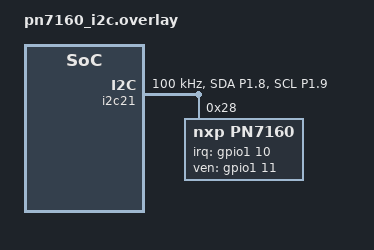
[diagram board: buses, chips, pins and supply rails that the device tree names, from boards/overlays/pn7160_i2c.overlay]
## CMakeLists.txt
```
#
# Copyright (c) 2018 Nordic Semiconductor
#
# SPDX-License-Identifier: LicenseRef-Nordic-5-Clause
#

cmake_minimum_required(VERSION 3.20.0)

find_package(Zephyr REQUIRED HINTS $ENV{ZEPHYR_BASE})
project(writable_ndef_msg)

FILE(GLOB app_sources src/*.c)
list(REMOVE_ITEM app_sources ${CMAKE_CURRENT_SOURCE_DIR}/src/nfc_emulation.c)
# NORDIC SDK APP START
target_sources(app  PRIVATE ${app_sources})
# NORDIC SDK APP END

if(NOT CONFIG_NFC_STACK AND CONFIG_NFC_T4T_NRFXLIB)
  target_sources(app PRIVATE ${CMAKE_CURRENT_SOURCE_DIR}/src/nfc_emulation.c)
endif()

if(CONFIG_NFC_STACK)
  add_subdirectory(src/nfc)
endif()
```

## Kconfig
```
#
# Copyright (c) 2025 Nordic Semiconductor
#
# SPDX-License-Identifier: LicenseRef-Nordic-5-Clause
#

source "Kconfig.zephyr"

rsource "src/nfc/Kconfig"

config ZMS
	select CRC
	default y if (SOC_FLASH_NRF_RRAM || SOC_FLASH_NRF_MRAM)

config NVS
	default y if !(SOC_FLASH_NRF_RRAM || SOC_FLASH_NRF_MRAM)
```

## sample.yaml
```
sample:
  description: NFC Type 4 tag emulation with custom UID
  name: NFC Type 4 tag emulation
tests:
  sample.nfc.writable_ndef_msg:
    sysbuild: true
    build_only: true
    integration_platforms:
      - nrf52840dk/nrf52840
      - nrf52dk/nrf52832
      - nrf5340dk/nrf5340/cpuapp
      - nrf5340dk/nrf5340/cpuapp/ns
      - nrf54h20dk/nrf54h20/cpuapp
      - nrf54l15dk/nrf54l05/cpuapp
      - nrf54l15dk/nrf54l10/cpuapp
      - nrf54l15dk/nrf54l15/cpuapp
      - nrf54lm20dk/nrf54lm20a/cpuapp
      - nrf7120pdk/nrf7120/cpuapp
    platform_allow:
      - nrf52840dk/nrf52840
      - nrf52dk/nrf52832
      - nrf5340dk/nrf5340/cpuapp
      - nrf5340dk/nrf5340/cpuapp/ns
      - nrf54h20dk/nrf54h20/cpuapp
      - nrf54l15dk/nrf54l05/cpuapp
      - nrf54l15dk/nrf54l10/cpuapp
      - nrf54l15dk/nrf54l15/cpuapp
      - nrf54lm20dk/nrf54lm20a/cpuapp
      - nrf7120pdk/nrf7120/cpuapp
    tags:
      - ci_build
      - sysbuild
      - ci_samples_nfc
  sample.nfc.writable_ndef_msg.llvm:
    toolchain_allow: llvm
    sysbuild: true
    build_only: true
    integration_platforms:
      - nrf54l15dk/nrf54l15/cpuapp
    platform_allow:
      - nrf54l15dk/nrf54l15/cpuapp
    tags:
      - ci_build
      - sysbuild
      - ci_samples_nfc
  sample.nfc.writable_ndef_msg.pn7160.i2c:
    sysbuild: true
    build_only: true
    extra_args:
      - writable_ndef_msg_DTC_OVERLAY_FILE=boards/overlays/pn7160_i2c.overlay
      - writable_ndef_msg_EXTRA_CONF_FILE=overlay-pn7160.conf
    integration_platforms:
      - nrf54l15dk/nrf54l15/cpuapp
    platform_allow:
      - nrf54l15dk/nrf54l15/cpuapp
    tags:
      - ci_build
      - ci_samples_nfc
      - pn7160
      - sysbuild
  sample.nfc.writable_ndef_msg.pn7160.spi:
    sysbuild: true
    build_only: true
    extra_args:
      - writable_ndef_msg_DTC_OVERLAY_FILE=boards/overlays/pn7160_spi.overlay
      - writable_ndef_msg_EXTRA_CONF_FILE=overlay-pn7160-spi.conf
    integration_platforms:
      - nrf54l15dk/nrf54l15/cpuapp
    platform_allow:
      - nrf54l15dk/nrf54l15/cpuapp
    tags:
      - ci_build
      - ci_samples_nfc
      - pn7160
      - sysbuild
```

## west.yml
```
# West manifest for writable_ndef_msg (NCS workspace root, T2 topology).
# CI and local Multipass use the same NCS pin as .github/workflows/twister.yaml.
# The PN7160 driver is the external nfc-pn7160 module, pinned below; CI clones it
# from GitHub. Locally it is resolved by the NCS workspace manifest. See docs/CI_TESTING.md.

manifest:
  version: "0.13"

  self:
    path: .

  remotes:
    - name: ncs
      url-base: https://github.com/nrfconnect

  defaults:
    remote: ncs

  projects:
    - name: nrf
      repo-path: sdk-nrf
      revision: v3.2.4
      import: true

    - name: nfc-pn7160
      url: https://github.com/majidsurefow/nfc-pn7160
      revision: faef0be3070fce5db8f7289466243b65961e0b79
      path: modules/nfc-pn7160
```

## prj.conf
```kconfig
#
# Copyright (c) 2019 Nordic Semiconductor ASA
#
# SPDX-License-Identifier: LicenseRef-Nordic-5-Clause
#
CONFIG_NCS_SAMPLES_DEFAULTS=y

CONFIG_NFC_T4T_NRFXLIB=y

CONFIG_DK_LIBRARY=y
```

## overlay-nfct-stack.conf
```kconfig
# NFCT T4T listen backend (Gate 5 — emulate path, no PN7160 reader).
#
# Build (nRF54L15 target):
#   west build -b nrf54l15dk/nrf54l15/cpuapp "$REPO" --sysbuild \
#     -- -DEXTRA_CONF_FILE="$REPO/overlay-nfct-stack.conf"
#
# HIL sign-off checklist (PN7160 reader + NFCT emulate):
#   1. nfc read <slot> on PN7160 — save .card for ndef / emv / desfire / aliro
#   2. nfc emulate <slot> on NFCT (this overlay) — field on, no crash
#   3. External reader or PN7160 poll: SELECT app AID → valid SW / payload
#   4. nfc verify <slot> on PN7160 — PASS vs stored blob
#   5. Stats: apdu_assembled_count > 0; apdu_dropped_no_consumer == 0
#
# QEMU cannot exercise nrfx NFCT ISR path — use unit virtual loopback for listeners.
#
# NFC logic reduced to one profile line: NFC_PROFILE_CARD_EMULATION implies the
# listen stack (framing + router + NDEF), RAM store, and the emulatable listener
# protocols (NDEF, Ultralight, DESFire, EMV, Aliro).
CONFIG_NFC_T4T_NRFXLIB=y
CONFIG_ENTROPY_GENERATOR=y
CONFIG_NFC_STACK=y
CONFIG_NFC_HAL_BACKEND_NRFX=y
CONFIG_NFC_PROFILE_CARD_EMULATION=y
# NFCT is listen-only — reader role must stay off (backend BUILD_ASSERT).
# CONFIG_NFC_ROLE_READER is not set
# CONFIG_PN7160 is not set
CONFIG_SHELL=y
```

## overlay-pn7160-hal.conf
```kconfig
# PN7160 + NFC HAL scaffold only (no reader engine)
#
# Requires a PN7160 devicetree node — pair with a board overlay, e.g.:
#   west build -b nrf54l15dk/nrf54l15/cpuapp . \
#     -DEXTRA_CONF_FILE=overlay-pn7160-hal.conf
# (sysbuild.cmake defaults writable_ndef_msg_DTC_OVERLAY_FILE to pn7160_i2c.overlay)
#
# NFC_PROFILE_LAB pulls in HAL + role compile paths but no reader/store/applets.
CONFIG_I2C=y
CONFIG_GPIO=y
CONFIG_EMUL=y
CONFIG_PN7160=y
CONFIG_PN7160_LOG_LEVEL_DBG=y
CONFIG_SHELL=y
CONFIG_SHELL_BACKEND_SERIAL=y
CONFIG_UART_CONSOLE=y
CONFIG_PN7160_SHELL=y
CONFIG_NFC_STACK=y
CONFIG_NFC_HAL_BACKEND_PN7160=y
CONFIG_NFC_ROLE_READER=y
CONFIG_NFC_PROFILE_LAB=y
CONFIG_NFC_T4T_NRFXLIB=n
CONFIG_DK_LIBRARY=n
# Reader engine added via overlay-pn7160-stack.conf (NFC_PROFILE_READER).
# CONFIG_NFC_READER is not set
```

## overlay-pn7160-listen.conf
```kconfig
# Layered on overlay-pn7160-stack.conf (NFC_PROFILE_READER) to add the listen
# path on the same PN7160 chip — reader + card emulation in one build.
# Gate 4 product applets — top-level `nfc scan|read|emulate|verify|loop`.
# DK primitives remain: `nfc reader *`, `nfc stack *`, `nfc store *`.
# Alias (LOCKED): `nfc reader clone <slot>` == `nfc read <slot>`.
#
# DEFERRED: RW+CE on the same PN7160 chip (concurrent reader + card emulation)
# requires NXP combined-discovery sequencing — not implemented; use separate
# scan/read and emulate sessions with stack stop between them.
#
# QEMU compile check (PN7160 emul DTS required):
#   west build -b qemu_cortex_m3/ti_lm3s6965 "$REPO" --no-sysbuild \
#     -- -DEXTRA_CONF_FILE="overlay-pn7160-stack.conf;overlay-pn7160-listen.conf" \
#        -DDTC_OVERLAY_FILE="boards/overlays/pn7160_unit_test.overlay"
#
# Flip reader-only listen role back on and add the listen orchestrator. The CE
# protocol subset comes from NFC_PROFILE_READER's poller implies already.
CONFIG_NFC_ROLE_LISTEN=y
CONFIG_NFC_LISTEN_STACK=y
```

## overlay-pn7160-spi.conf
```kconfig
# PN7160 module — SPI transport (pairs with boards/overlays/pn7160_spi.overlay)
CONFIG_SPI=y
CONFIG_GPIO=y
CONFIG_PN7160=y
CONFIG_PN7160_LOG_LEVEL_DBG=y
CONFIG_SHELL=y
CONFIG_SHELL_BACKEND_SERIAL=y
CONFIG_UART_CONSOLE=y
CONFIG_PN7160_SHELL=y
```

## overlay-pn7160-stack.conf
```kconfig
# PN7160 + NFC stack — reader product (Gate 0 reader scaffold)
#
# Requires a PN7160 devicetree node — pair with a board overlay, e.g.:
#   west build -b nrf54l15dk/nrf54l15/cpuapp . \
#     -DEXTRA_CONF_FILE=overlay-pn7160-stack.conf
# (sysbuild.cmake defaults writable_ndef_msg_DTC_OVERLAY_FILE to pn7160_i2c.overlay)
# Or explicitly:
#   -Dwritable_ndef_msg_DTC_OVERLAY_FILE=boards/overlays/pn7160_i2c.overlay
#
# Driver UART/shell defaults from overlay-pn7160.conf are merged below.
# NFC logic reduced to one profile line: NFC_PROFILE_READER implies the reader
# engine, RAM store, applets, and all poller protocols (imply, overridable).
CONFIG_I2C=y
CONFIG_ENTROPY_GENERATOR=y
CONFIG_GPIO=y
CONFIG_EMUL=y
CONFIG_PN7160=y
CONFIG_PN7160_LOG_LEVEL_DBG=y
CONFIG_SHELL=y
CONFIG_SHELL_BACKEND_SERIAL=y
CONFIG_UART_CONSOLE=y
CONFIG_PN7160_SHELL=y
CONFIG_NFC_STACK=y
CONFIG_NFC_HAL_BACKEND_PN7160=y
# CONFIG_NFC_HAL_BACKEND_NRFX is not set
CONFIG_NFC_PROFILE_READER=y
# Gate 2 reader-only on PN7160 — keep listen role off (no NET_BUF/APDU pool).
# Add listen + stack orchestrator via overlay-pn7160-listen.conf.
CONFIG_NFC_ROLE_LISTEN=n
CONFIG_NFC_T4T_NRFXLIB=n
CONFIG_DK_LIBRARY=n
# CRC is selected by NFC_STORE (store envelope checksum) — no overlay line needed.
```

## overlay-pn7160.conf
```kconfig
# PN7160 module — Phase 0 scaffold
CONFIG_I2C=y
CONFIG_GPIO=y
CONFIG_PN7160=y
CONFIG_PN7160_LOG_LEVEL_DBG=y
CONFIG_SHELL=y
CONFIG_SHELL_BACKEND_SERIAL=y
CONFIG_UART_CONSOLE=y
CONFIG_PN7160_SHELL=y
```

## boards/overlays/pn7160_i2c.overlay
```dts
/*
 * PN7160 eval shield on nRF54L15 DK — adjust bus/pins for your wiring.
 *
 * Default: I2C on i2c21 @ 0x28, IRQ P1.10, VEN P1.11.
 * I2C: SDA P1.8, SCL P1.9 (avoids IRQ/VEN on P1.10/P1.11).
 */

&pinctrl {
	i2c21_default: i2c21_default {
		group1 {
			psels = <NRF_PSEL(TWIM_SDA, 1, 8)>,
				<NRF_PSEL(TWIM_SCL, 1, 9)>;
			bias-pull-up;
		};
	};

	i2c21_sleep: i2c21_sleep {
		group1 {
			psels = <NRF_PSEL(TWIM_SDA, 1, 8)>,
				<NRF_PSEL(TWIM_SCL, 1, 9)>;
			low-power-enable;
		};
	};
};

&i2c21 {
	status = "okay";
	pinctrl-0 = <&i2c21_default>;
	pinctrl-1 = <&i2c21_sleep>;
	pinctrl-names = "default", "sleep";
	clock-frequency = <I2C_BITRATE_STANDARD>;

	pn7160: pn7160@28 {
		compatible = "nxp,pn7160";
		reg = <0x28>;
		irq-gpios = <&gpio1 10 GPIO_ACTIVE_HIGH>;
		ven-gpios = <&gpio1 11 GPIO_ACTIVE_HIGH>;
	};
};
```

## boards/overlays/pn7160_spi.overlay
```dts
/*
 * PN7160 on SPI — adjust bus, CS, and GPIO pins for your wiring.
 *
 * Default: SPI on spi21 @ CS0, IRQ P1.10, VEN P1.11 (same GPIOs as I2C overlay).
 * SPI: SCK P1.12, MOSI P1.8, MISO P1.9, CS P1.14 (avoids IRQ/VEN).
 * NXP reference SPI clock: 500 kHz (set via spi-max-frequency).
 */

&pinctrl {
	spi21_default: spi21_default {
		group1 {
			psels = <NRF_PSEL(SPIM_SCK, 1, 12)>,
				<NRF_PSEL(SPIM_MOSI, 1, 8)>,
				<NRF_PSEL(SPIM_MISO, 1, 9)>;
		};
	};

	spi21_sleep: spi21_sleep {
		group1 {
			psels = <NRF_PSEL(SPIM_SCK, 1, 12)>,
				<NRF_PSEL(SPIM_MOSI, 1, 8)>,
				<NRF_PSEL(SPIM_MISO, 1, 9)>;
			low-power-enable;
		};
	};
};

&spi21 {
	status = "okay";
	pinctrl-0 = <&spi21_default>;
	pinctrl-1 = <&spi21_sleep>;
	pinctrl-names = "default", "sleep";
	cs-gpios = <&gpio1 14 GPIO_ACTIVE_LOW>;

	pn7160: pn7160@0 {
		compatible = "nxp,pn7160";
		reg = <0>;
		spi-max-frequency = <500000>;
		irq-gpios = <&gpio1 10 GPIO_ACTIVE_HIGH>;
		ven-gpios = <&gpio1 11 GPIO_ACTIVE_HIGH>;
	};
};
```

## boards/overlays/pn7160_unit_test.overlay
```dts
/*
 * Minimal PN7160 + I2C for unit tests on QEMU (no hardware I2C on qemu_cortex_m3).
 */

#include <zephyr/dt-bindings/i2c/i2c.h>
#include <zephyr/dt-bindings/gpio/gpio.h>

/ {
	i2c_emul: i2c@400 {
		compatible = "zephyr,i2c-emul-controller";
		status = "okay";
		clock-frequency = <I2C_BITRATE_STANDARD>;
		#address-cells = <1>;
		#size-cells = <0>;
		reg = <0x400 0x4>;

		pn7160: pn7160@28 {
			compatible = "nxp,pn7160";
			reg = <0x28>;
			irq-gpios = <&gpio0 0 GPIO_ACTIVE_HIGH>;
			ven-gpios = <&gpio0 1 GPIO_ACTIVE_HIGH>;
		};
	};
};
```

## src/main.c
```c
/*
 * Copyright (c) 2018 Nordic Semiconductor ASA
 *
 * SPDX-License-Identifier: LicenseRef-Nordic-5-Clause
 */

/** @file
 *
 * @defgroup nfc_writable_ndef_msg_example_main main.c
 * @{
 * @ingroup nfc_writable_ndef_msg_example
 * @brief NFC Type 4 tag emulation (custom UID, minimal in-RAM NDEF file).
 *
 */

#include <zephyr/kernel.h>
#include <zephyr/sys/reboot.h>
#include <stdbool.h>

#if IS_ENABLED(CONFIG_DK_LIBRARY)
#include <dk_buttons_and_leds.h>
#endif

#if IS_ENABLED(CONFIG_NFC_STACK)
#else
#include "nfc_emulation.h"
#endif

static int board_init(void)
{
#if IS_ENABLED(CONFIG_DK_LIBRARY)
	return dk_leds_init();
#else
	return 0;
#endif
}

#if IS_ENABLED(CONFIG_NFC_STACK)

#include "nfc_stack/nfc_stack.h"

int main(void)
{
	int ret;

	printk("NFC stack (shell: nfc stack init|start|stop|load");
#if IS_ENABLED(CONFIG_NFC_READER_SHELL)
	printk(" | nfc reader scan|clone");
#endif
	printk(")\n");

	if (board_init() < 0) {
		return -EIO;
	}

#if IS_ENABLED(CONFIG_NFC_LISTEN_STACK)
	ret = nfc_stack_init(NULL);
	if ((ret != 0) && (ret != -EALREADY)) {
		printk("nfc_stack_init failed: %d\n", ret);
		return -EIO;
	}
#endif

	while (true) {
		k_sleep(K_FOREVER);
	}
}

#else /* legacy NFCT sample */

#define NFC_FIELD_LED	DK_LED1
#define NFC_READ_LED	DK_LED4
#define NFC_UID_COUNT 3
static const uint8_t nfc_uids[NFC_UID_COUNT][7] = {
	{ 0x04, 0x1F, 0xF5, 0x5C, 0xBD, 0x2A, 0x81 },
	{ 0x04, 0x91, 0xF7, 0x01, 0x8A, 0x04, 0x03 },
	{ 0x04, 0x2D, 0x6F, 0xFA, 0x11, 0x6F, 0x80 },
};

static size_t nfc_uid_slot;
static struct k_work nfc_field_off_work;

static void nfc_field_off_work_handler(struct k_work *work)
{
	int err;

	ARG_UNUSED(work);

	nfc_uid_slot = (nfc_uid_slot + 1U) % NFC_UID_COUNT;

	nfc_uid_t uid = {
		.bytes = nfc_uids[nfc_uid_slot],
		.len = sizeof(nfc_uids[nfc_uid_slot]),
	};

	err = nfc_apply_uid_and_restart(&uid);
	if (err < 0) {
		printk("nfc_apply_uid_and_restart failed: %d\n", err);
	}
}

#define NDEF_BUF_SIZE 64
static uint8_t ndef_msg_buf[NDEF_BUF_SIZE] = {
	0x00, 0x03,
	0xD0, 0x00, 0x00,
};

static void nfc_callback(void *context, nfc_t4t_event_t event, const uint8_t *data,
			 size_t data_length, uint32_t flags)
{
	ARG_UNUSED(context);
	ARG_UNUSED(data);
	ARG_UNUSED(data_length);
	ARG_UNUSED(flags);

	switch (event) {
	case NFC_T4T_EVENT_FIELD_ON:
		dk_set_led_on(NFC_FIELD_LED);
		break;
	case NFC_T4T_EVENT_FIELD_OFF:
		dk_set_leds(DK_NO_LEDS_MSK);
		k_work_submit(&nfc_field_off_work);
		break;
	case NFC_T4T_EVENT_NDEF_READ:
		dk_set_led_on(NFC_READ_LED);
		break;
	default:
		break;
	}
}

int main(void)
{
	printk("NFC Type 4 emulation sample\n");

	if (board_init() < 0) {
		goto fail;
	}

	k_work_init(&nfc_field_off_work, nfc_field_off_work_handler);
	nfc_uid_slot = 0;

	nfc_uid_t uid = {
		.bytes = nfc_uids[nfc_uid_slot],
		.len = sizeof(nfc_uids[nfc_uid_slot]),
	};
	nfc_t4_start_args_t t4 = {
		.callback = nfc_callback,
		.callback_context = NULL,
		.ndef_file_buf = ndef_msg_buf,
		.ndef_file_buf_size = sizeof(ndef_msg_buf),
	};

	if (nfc_on(&uid, NFC_TAG_TYPE_4, &t4) < 0) {
		printk("Cannot turn NFC on\n");
		goto fail;
	}

	while (true) {
		k_cpu_atomic_idle(irq_lock());
	}

fail:
#if CONFIG_REBOOT
	sys_reboot(SYS_REBOOT_COLD);
#endif
	return -EIO;
}

#endif /* CONFIG_NFC_STACK */
/** @} */
```

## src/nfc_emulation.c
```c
/*
 * Copyright (c) 2026 Nordic Semiconductor ASA
 *
 * SPDX-License-Identifier: LicenseRef-Nordic-5-Clause
 */

#include "nfc_emulation.h"

#include <errno.h>
#include <string.h>

static bool uid_len_valid(size_t len)
{
	return len == 4U || len == 7U || len == 10U;
}

static uint8_t uid_store[10];

int nfc_on(const nfc_uid_t *uid, nfc_tag_type_t type, const nfc_t4_start_args_t *t4)
{
	int err;

	if (!uid || !uid->bytes || !uid_len_valid(uid->len)) {
		return -EINVAL;
	}

	if (type != NFC_TAG_TYPE_4) {
		return -ENOTSUP;
	}

	if (!t4 || !t4->callback || !t4->ndef_file_buf || t4->ndef_file_buf_size == 0) {
		return -EINVAL;
	}

	/* NLEN + smallest NDEF message (empty record). */
	if (t4->ndef_file_buf_size < 5U) {
		return -EINVAL;
	}

	memcpy(uid_store, uid->bytes, uid->len);

	err = nfc_t4t_setup(t4->callback, t4->callback_context);
	if (err < 0) {
		return err;
	}

	err = nfc_t4t_parameter_set(NFC_T4T_PARAM_NFCID1, uid_store, uid->len);
	if (err < 0) {
		return err;
	}

	err = nfc_t4t_ndef_rwpayload_set(t4->ndef_file_buf, t4->ndef_file_buf_size);
	if (err < 0) {
		return err;
	}

	return nfc_t4t_emulation_start();
}

int nfc_off(void)
{
	return nfc_t4t_emulation_stop();
}

int nfc_apply_uid_and_restart(const nfc_uid_t *uid)
{
	int err;

	if (!uid || !uid->bytes || !uid_len_valid(uid->len)) {
		return -EINVAL;
	}

	memcpy(uid_store, uid->bytes, uid->len);

	(void)nfc_t4t_emulation_stop();

	err = nfc_t4t_parameter_set(NFC_T4T_PARAM_NFCID1, uid_store, uid->len);
	if (err < 0) {
		(void)nfc_t4t_emulation_start();
		return err;
	}

	return nfc_t4t_emulation_start();
}
```

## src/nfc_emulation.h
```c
/*
 * Copyright (c) 2026 Nordic Semiconductor ASA
 *
 * SPDX-License-Identifier: LicenseRef-Nordic-5-Clause
 */

#ifndef NFC_EMULATION_H_
#define NFC_EMULATION_H_

/**
 * @file nfc_emulation.h
 *
 * ## What must exist before NFC tag emulation works (Nordic nrfxlib T4T)
 *
 * Build-time (Kconfig), typical for this sample:
 * - CONFIG_NFC_T4T_NRFXLIB=y — links the Type 4 Tag emulation library.
 * - CONFIG_NFC_NDEF / NDEF message modules if you use the NDEF file helpers.
 * - Chip must have NFCT; devicetree enables the peripheral for your board.
 *
 * Type 4 Tag, NDEF read/write mode — runtime contract with @ref nfc_t4t_lib:
 *
 * 1. nfc_t4t_setup(callback, context)
 * 2. nfc_t4t_parameter_set(NFC_T4T_PARAM_NFCID1, ...)
 * 3. nfc_t4t_ndef_rwpayload_set(buffer, buffer_length) (or static / raw mode)
 * 4. nfc_t4t_emulation_start()
 *
 * @ref nfc_on performs 1–4. @ref nfc_off calls nfc_t4t_emulation_stop().
 *
 * Teardown: @ref nfc_off; use nfc_t4t_done() before a second @ref nfc_on.
 */

#include <stddef.h>
#include <stdint.h>

#include <nfc_t4t_lib.h>

typedef enum {
	NFC_TAG_TYPE_2 = 2,
	NFC_TAG_TYPE_4 = 4,
} nfc_tag_type_t;

/** NFCID1 passed to @ref nfc_on; bytes are copied into the module. */
typedef struct {
	const uint8_t *bytes;
	size_t len;
} nfc_uid_t;

typedef struct {
	nfc_t4t_callback_t callback;
	void *callback_context;
	uint8_t *ndef_file_buf;
	size_t ndef_file_buf_size;
} nfc_t4_start_args_t;

/**
 * @brief Setup Type 4 NDEF RW emulation and start sensing the field.
 *
 * @retval 0       Success.
 * @retval -EINVAL Invalid arguments.
 * @retval -ENOTSUP type is not @ref NFC_TAG_TYPE_4.
 */
int nfc_on(const nfc_uid_t *uid, nfc_tag_type_t type, const nfc_t4_start_args_t *t4);

/** @brief Stop sensing the NFC field (nfc_t4t_emulation_stop). */
int nfc_off(void);

/**
 * @brief Stop emulation, set a new NFCID1, start emulation again.
 *
 * Call only after a successful @ref nfc_on (does not re-run @c nfc_t4t_setup).
 */
int nfc_apply_uid_and_restart(const nfc_uid_t *uid);

#endif /* NFC_EMULATION_H_ */
```

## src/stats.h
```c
/**
 * @file stats.h
 * @brief Spinlock-guarded statistics increment/reset macros for module stats_t.
 *
 * Requires stats struct fields: error_count (uint32_t), last_error_code (int32_t)
 * for STATS_ERROR. STATS_RESET is for module init only — not concurrent-safe.
 *
 * Hot paths: one logical event (callback exit, enqueue drop, etc.) should batch
 * related field updates under a single lock via STATS_SCOPE. Single-field cold
 * paths use STATS_INC / STATS_ERROR. Getters copy out via STATS_COPY_OUT.
 *
 * @see README.md for full context.
 */

#ifndef SYSTEM_STATS_H
#define SYSTEM_STATS_H

#include <string.h>
#include <zephyr/spinlock.h>

/**
 * @brief Increment a stats field by 1.
 * @isr_safe
 */
#define STATS_INC(lock, stats, field)               \
    do {                                            \
        k_spinlock_key_t _key = k_spin_lock(lock);  \
        (stats).field++;                            \
        k_spin_unlock(lock, _key);                  \
    } while (0)

/**
 * @brief Increment a stats field by @p val.
 * @isr_safe
 */
#define STATS_ADD(lock, stats, field, val)          \
    do {                                            \
        k_spinlock_key_t _key = k_spin_lock(lock);  \
        (stats).field += (val);                     \
        k_spin_unlock(lock, _key);                  \
    } while (0)

/**
 * @brief Decrement a stats field by 1. Use for gauges (e.g. inflight_now).
 * @isr_safe
 */
#define STATS_DEC(lock, stats, field)               \
    do {                                            \
        k_spinlock_key_t _key = k_spin_lock(lock);  \
        (stats).field--;                            \
        k_spin_unlock(lock, _key);                  \
    } while (0)

/**
 * @brief Record an error: increments error_count and stores errno.
 * @isr_safe
 */
#define STATS_ERROR(lock, stats, code)              \
    do {                                            \
        k_spinlock_key_t _key = k_spin_lock(lock);  \
        (stats).error_count++;                      \
        (stats).last_error_code = (int32_t)(code);  \
        k_spin_unlock(lock, _key);                  \
    } while (0)

/**
 * @brief Batch multiple field updates under a single lock acquisition.
 *
 * Use for hot paths where one logical event updates more than one field.
 * For single-field updates on cold paths, prefer STATS_INC / STATS_ERROR.
 *
 * Compute timestamps and other inputs before entering the scope — do not
 * call timing helpers inside the lock.
 *
 * @isr_safe
 *
 * Example:
 * @code
 *   uint32_t elapsed_us = k_cyc_to_us_floor32(k_cycle_get_32() - t0);
 *   STATS_SCOPE(&s_stats_lock, {
 *       s_stats.packets_received++;
 *       s_stats.packets_dropped_by_filter[stage]++;
 *       latency_stats_record(&s_stats.callback_time_us, elapsed_us);
 *   });
 * @endcode
 */
#define STATS_SCOPE(lock, body)                         \
    do {                                                \
        k_spinlock_key_t _key = k_spin_lock(lock);      \
        body;                                           \
        k_spin_unlock(lock, _key);                      \
    } while (0)

/**
 * @brief Reset all stats fields to zero (memset).
 *
 * Not concurrent-safe on its own — a concurrent STATS_INC (single-word
 * write under spinlock) races against the multi-word memset.
 *
 * Rules (XC-7):
 *   - From module init (before any concurrent writer exists): call freely.
 *   - From any *_reset_stats() function callable at runtime (e.g. shell
 *     commands): MUST acquire the module's stats spinlock before calling
 *     this macro, then release it after. Example:
 *
 *       k_spinlock_key_t key = k_spin_lock(&s_stats_lock);
 *       STATS_RESET(s_stats);
 *       k_spin_unlock(&s_stats_lock, key);
 *
 * @caller_sync when called from init; hold stats spinlock when called
 * from a live reset path (shell command, runtime reset API).
 */
#define STATS_RESET(stats) memset(&(stats), 0, sizeof(stats))

/**
 * @brief Copy stats struct under spinlock into caller buffer.
 * @isr_safe
 *
 * @param lock  Module stats spinlock (e.g. &s_stats_lock).
 * @param src   Pointer to module stats instance (e.g. &s_stats).
 * @param dst   Caller-owned destination buffer; NULL → -EINVAL.
 * @param sz    sizeof the stats struct.
 *
 * @retval 0       Success.
 * @retval -EINVAL @p dst is NULL.
 */
static inline int stats_copy_out(struct k_spinlock *lock, const void *src,
				 void *dst, size_t sz)
{
	if (dst == NULL) {
		return -EINVAL;
	}
	k_spinlock_key_t key = k_spin_lock(lock);
	memcpy(dst, src, sz);
	k_spin_unlock(lock, key);
	return 0;
}

/**
 * @brief Copy stats struct under spinlock into caller buffer (macro wrapper).
 * @isr_safe
 *
 * @param lock  Module stats spinlock (e.g. &s_stats_lock).
 * @param stats Module stats instance (e.g. s_stats).
 * @param out   Caller-owned destination; NULL → -EINVAL.
 *
 * @retval 0       Success.
 * @retval -EINVAL @p out is NULL.
 */
#define STATS_COPY_OUT(lock, stats, out) \
	stats_copy_out((lock), &(stats), (out), sizeof(stats))

#endif /* SYSTEM_STATS_H */
```
